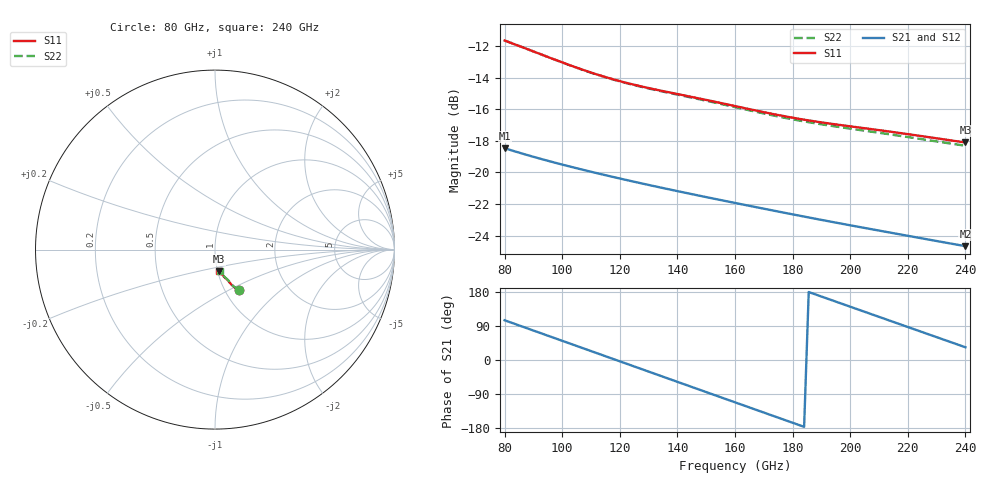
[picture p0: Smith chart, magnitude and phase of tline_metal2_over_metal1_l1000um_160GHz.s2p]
#  GHZ S DB R 50
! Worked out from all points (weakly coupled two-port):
!   101 points, 80 GHz to 240 GHz, reference 50 ohm
!   highest |S21| = -18.47 dB at 80 GHz (marker M1); lowest = -24.7 dB at 240 GHz (marker M2)
!   lowest |S11| = -18.1 dB at 240 GHz (marker M3), VSWR 1.28, Z = 50.9 - j12.6 ohm
!   |S11| at or under -10 dB: start of sweep to end of sweep
!   |S22| runs from -18.3 to -11.7 dB; largest |S21 - S12| = 1.3e-13
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80  -11.66 -59.5  -18.47 104.9  -18.47 104.9  -11.66 -59.0
86.4  -12.10 -61.2  -18.82 87.5  -18.82 87.5  -12.10 -60.8
92.8  -12.55 -62.8  -19.15 70.2  -19.15 70.2  -12.55 -62.3
100.8  -13.10 -64.4  -19.54 48.5  -19.54 48.5  -13.10 -63.9
107.2  -13.51 -65.3  -19.83 31.2  -19.83 31.2  -13.52 -64.8
113.6  -13.89 -66.0  -20.11 13.8  -20.11 13.8  -13.91 -65.5
120  -14.23 -66.5  -20.38 -3.5  -20.38 -3.5  -14.25 -66.1
126.4  -14.52 -67.1  -20.64 -20.8  -20.64 -20.8  -14.54 -66.6
134.4  -14.84 -67.9  -20.96 -42.5  -20.96 -42.5  -14.87 -67.4
140.8  -15.07 -68.7  -21.21 -59.8  -21.21 -59.8  -15.11 -68.2
147.2  -15.31 -69.6  -21.45 -77.1  -21.45 -77.1  -15.36 -69.1
153.6  -15.55 -70.5  -21.69 -94.4  -21.69 -94.4  -15.61 -69.9
160  -15.80 -71.3  -21.93 -111.7  -21.93 -111.7  -15.87 -70.8
168  -16.11 -72.2  -22.22 -133.3  -22.22 -133.3  -16.19 -71.6
174.4  -16.35 -72.7  -22.45 -150.5  -22.45 -150.5  -16.44 -72.2
180.8  -16.56 -73.2  -22.68 -167.8  -22.68 -167.8  -16.67 -72.7
187.2  -16.76 -73.6  -22.90 175.0  -22.90 175.0  -16.87 -73.1
193.6  -16.93 -74.1  -23.12 157.9  -23.12 157.9  -17.06 -73.6
201.6  -17.12 -74.9  -23.39 136.4  -23.39 136.4  -17.27 -74.3
214.4  -17.43 -76.2  -23.82 102.1  -23.82 102.1  -17.61 -75.5
225.6  -17.72 -77.5  -24.19 72.1  -24.19 72.1  -17.92 -76.7
240  -18.10 -78.8  -24.66 33.6  -24.66 33.6  -18.31 -77.9
